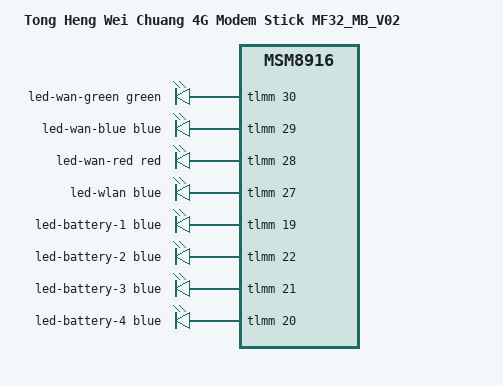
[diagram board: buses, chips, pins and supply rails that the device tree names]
// SPDX-License-Identifier: GPL-2.0-only

/dts-v1/;

#include "msm8916-thwc-mf32.dtsi"

/ {
	model = "Tong Heng Wei Chuang 4G Modem Stick MF32_MB_V02";
	compatible = "thwc,mf32-v2", "qcom,msm8916";
};

&leds {
	led-wan-green {
		color = <LED_COLOR_ID_GREEN>;
		function = LED_FUNCTION_WAN;
		default-state = "off";
		gpios = <&tlmm 30 GPIO_ACTIVE_HIGH>;
	};

	led-wan-blue {
		color = <LED_COLOR_ID_BLUE>;
		function = LED_FUNCTION_WAN;
		default-state = "on";
		gpios = <&tlmm 29 GPIO_ACTIVE_HIGH>;
	};

	led-wan-red {
		color = <LED_COLOR_ID_RED>;
		function = LED_FUNCTION_WAN;
		default-state = "off";
		gpios = <&tlmm 28 GPIO_ACTIVE_HIGH>;
	};

	led-wlan {
		color = <LED_COLOR_ID_BLUE>;
		function = LED_FUNCTION_WLAN;
		default-state = "on";
		gpios = <&tlmm 27 GPIO_ACTIVE_HIGH>;
	};

	led-battery-1 {
		color = <LED_COLOR_ID_BLUE>;
		function = LED_FUNCTION_POWER;
		default-state = "on";
		gpios = <&tlmm 19 GPIO_ACTIVE_HIGH>;
	};

	led-battery-2 {
		color = <LED_COLOR_ID_BLUE>;
		function = LED_FUNCTION_POWER;
		default-state = "on";
		gpios = <&tlmm 22 GPIO_ACTIVE_HIGH>;
	};

	led-battery-3 {
		color = <LED_COLOR_ID_BLUE>;
		function = LED_FUNCTION_POWER;
		default-state = "on";
		gpios = <&tlmm 21 GPIO_ACTIVE_HIGH>;
	};

	led-battery-4 {
		color = <LED_COLOR_ID_BLUE>;
		function = LED_FUNCTION_POWER;
		default-state = "on";
		gpios = <&tlmm 20 GPIO_ACTIVE_HIGH>;
	};
};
